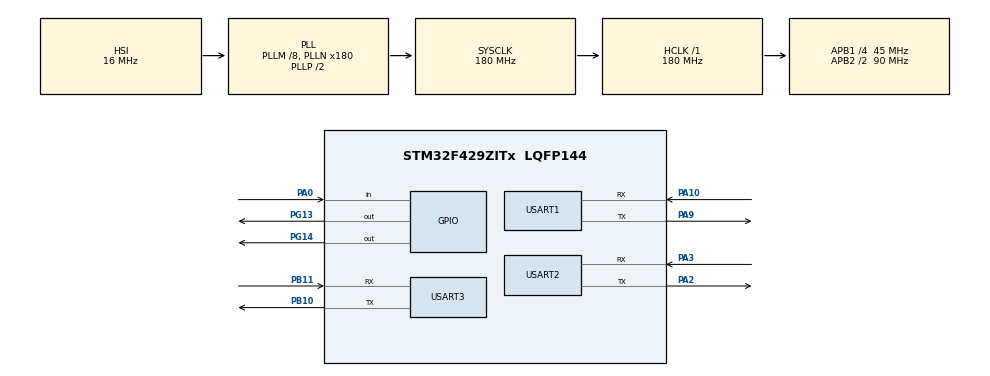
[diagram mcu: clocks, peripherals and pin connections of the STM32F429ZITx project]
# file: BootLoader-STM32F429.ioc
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Mcu.Family=STM32F4
Mcu.Name=STM32F429ZITx
Mcu.Package=LQFP144
NVIC.PriorityGroup=NVIC_PRIORITYGROUP_0
PA0/WKUP.Signal=GPIO_Input
PA10.Mode=Asynchronous
PA10.Signal=USART1_RX
PA13.Mode=Serial_Wire
PA13.Signal=SYS_JTMS-SWDIO
PA14.Mode=Serial_Wire
PA14.Signal=SYS_JTCK-SWCLK
PA2.Mode=Asynchronous
PA2.Signal=USART2_TX
PA3.Mode=Asynchronous
PA3.Signal=USART2_RX
PA9.Mode=Asynchronous
PA9.Signal=USART1_TX
PB10.Mode=Asynchronous
PB10.Signal=USART3_TX
PB11.Mode=Asynchronous
PB11.Signal=USART3_RX
PG13.Signal=GPIO_Output
PG14.Signal=GPIO_Output
PH0/OSC_IN.Mode=HSE-External-Oscillator
PH0/OSC_IN.Signal=RCC_OSC_IN
PH1/OSC_OUT.Mode=HSE-External-Oscillator
PH1/OSC_OUT.Signal=RCC_OSC_OUT
ProjectManager.HeapSize=0x200
ProjectManager.StackSize=0x400
ProjectManager.TargetToolchain=STM32CubeIDE
RCC.48MHZClocksFreq_Value=51428571.428571425
RCC.AHBFreq_Value=180000000
RCC.APB1CLKDivider=RCC_HCLK_DIV4
RCC.APB1Freq_Value=45000000
RCC.APB1TimFreq_Value=90000000
RCC.APB2CLKDivider=RCC_HCLK_DIV2
RCC.APB2Freq_Value=90000000
RCC.APB2TimFreq_Value=180000000
RCC.CortexFreq_Value=180000000
RCC.HCLKFreq_Value=180000000
RCC.HSE_VALUE=8000000
RCC.HSI_VALUE=16000000
RCC.LSE_VALUE=32768
RCC.PLLM=8
RCC.PLLN=180
RCC.PLLQ=7
RCC.SYSCLKFreq_VALUE=180000000
RCC.SYSCLKSource=RCC_SYSCLKSOURCE_PLLCLK
RCC.VCOOutputFreq_Value=360000000
USART1.VirtualMode=VM_ASYNC
USART2.VirtualMode=VM_ASYNC
USART3.VirtualMode=VM_ASYNC
VP_CRC_VS_CRC.Mode=CRC_Activate
board=STM32F429I-DISC1

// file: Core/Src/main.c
/* USER CODE BEGIN Header */
/**
 ******************************************************************************
 * @file           : main.c
 * @brief          : Main program body
 ******************************************************************************
 * @attention
 *
 * <h2><center>&copy; Copyright (c) 2020 STMicroelectronics.
 * All rights reserved.</center></h2>
 *
 * This software component is licensed by ST under BSD 3-Clause license,
 * the "License"; You may not use this file except in compliance with the
 * License. You may obtain a copy of the License at:
 *                        opensource.org/licenses/BSD-3-Clause
 *
 ******************************************************************************
 */
/* USER CODE END Header */
#include "main.h"

/* USER CODE BEGIN PD */
#define C_UART 	&huart3
#define D_UART	&huart1
#define FLASH_SECTOR_SIZE 131072
#define BL_DEBUG_MSG_EN
/* USER CODE END PD */

CRC_HandleTypeDef hcrc;

UART_HandleTypeDef huart1;
UART_HandleTypeDef huart2;
UART_HandleTypeDef huart3;

void SystemClock_Config(void);
static void MX_GPIO_Init(void);
static void MX_CRC_Init(void);
static void MX_USART1_UART_Init(void);
static void MX_USART2_UART_Init(void);
static void MX_USART3_UART_Init(void);
/* USER CODE BEGIN PFP */
static void printmsg(char *format,...);
uint32_t crcCalculation(uint32_t crcArray[], uint8_t lenOfArray);
uint8_t word_to_bytes(uint8_t *dest, uint32_t *src);
uint32_t bytes_to_word(uint32_t *dest, uint8_t *src);
uint8_t execute_mem_write(uint8_t *pBuffer, uint32_t mem_address, uint32_t len);
uint8_t execute_flash_erase(uint8_t sector_number , uint8_t number_of_sector);
uint32_t calculateAuthenticationKEY(uint32_t key);
uint8_t bootloader_verify_crc (uint8_t *pData, uint32_t len, uint32_t crc_host);
uint8_t calculateNumOfSector(uint32_t);
void userApplication(void);
/* USER CODE END PFP */

/* USER CODE BEGIN 0 */
volatile uint32_t dataBuffer = (uint32_t)0x08040000;
volatile uint32_t crcBuffer = (uint32_t)0x08040000;
#define BL_RX_LEN  10000
uint8_t dataArray[BL_RX_LEN];
uint32_t uartDataRx[3] = {0};
uint32_t uartDataTx[3] = {0};
uint32_t payloadLen = 0;
uint32_t key = 0xFFCCDDCC;
/* USER CODE END 0 */

int main(void)
{

	/* MCU Configuration--------------------------------------------------------*/

	/* Reset of all peripherals, Initializes the Flash interface and the Systick. */
	HAL_Init();

	/* Configure the system clock */
	SystemClock_Config();

	/* Initialize all configured peripherals */
	MX_GPIO_Init();
	MX_CRC_Init();
	MX_USART1_UART_Init();
	MX_USART2_UART_Init();
	MX_USART3_UART_Init();
	/* USER CODE BEGIN 2 */
	memset(dataArray,0,10000);
	printmsg("Press User Button within 3 Seconds to boot into BootLoader Mode\r\n");
	//HAL_Delay(3000);
	if(HAL_GPIO_ReadPin(GPIOA, GPIO_PIN_0) == GPIO_PIN_SET)
	{
		printmsg("BootLoader Mode\r\n");
		uint32_t downloaderKey = calculateAuthenticationKEY(key);
		uartDataTx[0] = key;
		printmsg("Waiting for Tester Connection\r\n");
		uint32_t temp = 0;
		HAL_UART_Receive(C_UART, (uint8_t*)&temp, 4, HAL_MAX_DELAY);
		printmsg("Sending Authentication Key to Tester\r\n");
		HAL_Delay(500);
		HAL_UART_Transmit(C_UART, (uint8_t*)&uartDataTx[0], 4, HAL_MAX_DELAY);
		printmsg("Waiting for the Tester Key\r\n");
		HAL_UART_Receive(C_UART, (uint8_t*)&uartDataRx[0], 4, HAL_MAX_DELAY);
		if(uartDataRx[0] == downloaderKey)
		{
			printmsg("Tester is verified successfully\r\n");
			uartDataTx[1] = 0xFFFFFFFF;
			HAL_Delay(1000);
			HAL_UART_Transmit(C_UART, (uint8_t*)&uartDataTx[1], 4, HAL_MAX_DELAY);
			printmsg("Verification msg sent\r\n");
			HAL_UART_Receive(&huart3, (uint8_t*)&uartDataRx[1], 8, HAL_MAX_DELAY);
			uint32_t payloadCRC = uartDataRx[1];
			payloadLen = uartDataRx[2];
			printmsg("CRC value and Payload Length received\r\n");
			//printmsg("Payload Length = %d\r\n", payloadLen);
			//printmsg("Received CRC = %x\r\n", payloadCRC);
			printmsg("Waiting for the payload\r\n");
			HAL_UART_Receive(C_UART, (uint8_t*)dataArray, payloadLen, HAL_MAX_DELAY);
			printmsg("Payload received\r\n");
			HAL_Delay(1000);
			if(!(bootloader_verify_crc((uint8_t*)&dataArray, payloadLen, payloadCRC)))
			{
				printmsg("CRC is matched\r\n");
				HAL_Delay(1000);
				printmsg("Data is being written\r\n");
				HAL_Delay(1000);
				uint8_t statusWrite = 0;
				uint8_t statusErase = 0;
				//uint8_t numOfSector = calculateNumOfSector(payloadLen); // to do
				statusErase = execute_flash_erase(6, 1);
				if(statusErase == HAL_OK)
				{
					printmsg("Erasing Data is Succeeded\r\n");
					HAL_Delay(1000);
					statusWrite = execute_mem_write(dataArray, dataBuffer, payloadLen);
					if(statusWrite == HAL_OK)
					{
						printmsg("data is written successfully\r\n");
						HAL_GPIO_WritePin(GPIOG, GPIO_PIN_13, GPIO_PIN_SET);
						HAL_Delay(1000);
						printmsg("Booting into User Application\r\n");
						HAL_Delay(1000);
						userApplication();
					}
					else
					{
						printmsg("Data writing is failed\r\n");
						HAL_Delay(1000);
						HAL_GPIO_WritePin(GPIOG, GPIO_PIN_14, GPIO_PIN_SET);
						printmsg("Data is Erased, Please Go to Bootloader Mode and Download the firmware\r\n");
						HAL_Delay(1000);
					}
				}
				else
				{
					printmsg("Erasing is failed\r\n");
					HAL_Delay(1000);
					printmsg("Booting into User Application\r\n");
					HAL_Delay(1000);
					userApplication();
				}
			}
			else
			{
				printmsg("CRC is mis-matched\r\n");
				HAL_Delay(1000);
				printmsg("Booting into User Application\r\n");
				HAL_Delay(1000);
				userApplication();
			}
		}
		else
		{
			printmsg("Unknown Tester Found\r\n");
			HAL_Delay(1000);
			printmsg("Booting into User Application\r\n");
			HAL_Delay(1000);
			userApplication();

		}
	}
	else
	{
		printmsg("Booting into User Application\r\n");
		HAL_Delay(1000);
		userApplication();
	}
	/* USER CODE END 2 */
}

void SystemClock_Config(void)
{
	RCC_OscInitTypeDef RCC_OscInitStruct = {0};
	RCC_ClkInitTypeDef RCC_ClkInitStruct = {0};

	/** Configure the main internal regulator output voltage
	 */
	__HAL_RCC_PWR_CLK_ENABLE();
	__HAL_PWR_VOLTAGESCALING_CONFIG(PWR_REGULATOR_VOLTAGE_SCALE1);
	/** Initializes the RCC Oscillators according to the specified parameters
	 * in the RCC_OscInitTypeDef structure.
	 */
	RCC_OscInitStruct.OscillatorType = RCC_OSCILLATORTYPE_HSI;
	RCC_OscInitStruct.HSIState = RCC_HSI_ON;
	RCC_OscInitStruct.HSICalibrationValue = RCC_HSICALIBRATION_DEFAULT;
	RCC_OscInitStruct.PLL.PLLState = RCC_PLL_ON;
	RCC_OscInitStruct.PLL.PLLSource = RCC_PLLSOURCE_HSI;
	RCC_OscInitStruct.PLL.PLLM = 8;
	RCC_OscInitStruct.PLL.PLLN = 180;
	RCC_OscInitStruct.PLL.PLLP = RCC_PLLP_DIV2;
	RCC_OscInitStruct.PLL.PLLQ = 7;
	if (HAL_RCC_OscConfig(&RCC_OscInitStruct) != HAL_OK)
	{
		Error_Handler();
	}
	/** Activate the Over-Drive mode
	 */
	if (HAL_PWREx_EnableOverDrive() != HAL_OK)
	{
		Error_Handler();
	}
	/** Initializes the CPU, AHB and APB buses clocks
	 */
	RCC_ClkInitStruct.ClockType = RCC_CLOCKTYPE_HCLK|RCC_CLOCKTYPE_SYSCLK
			|RCC_CLOCKTYPE_PCLK1|RCC_CLOCKTYPE_PCLK2;
	RCC_ClkInitStruct.SYSCLKSource = RCC_SYSCLKSOURCE_PLLCLK;
	RCC_ClkInitStruct.AHBCLKDivider = RCC_SYSCLK_DIV1;
	RCC_ClkInitStruct.APB1CLKDivider = RCC_HCLK_DIV4;
	RCC_ClkInitStruct.APB2CLKDivider = RCC_HCLK_DIV2;

	if (HAL_RCC_ClockConfig(&RCC_ClkInitStruct, FLASH_LATENCY_5) != HAL_OK)
	{
		Error_Handler();
	}
}

static void MX_CRC_Init(void)
{

	hcrc.Instance = CRC;
	if (HAL_CRC_Init(&hcrc) != HAL_OK)
	{
		Error_Handler();
	}

}

static void MX_USART1_UART_Init(void)
{

	huart1.Instance = USART1;
	huart1.Init.BaudRate = 115200;
	huart1.Init.WordLength = UART_WORDLENGTH_8B;
	huart1.Init.StopBits = UART_STOPBITS_1;
	huart1.Init.Parity = UART_PARITY_NONE;
	huart1.Init.Mode = UART_MODE_TX_RX;
	huart1.Init.HwFlowCtl = UART_HWCONTROL_NONE;
	huart1.Init.OverSampling = UART_OVERSAMPLING_16;
	if (HAL_UART_Init(&huart1) != HAL_OK)
	{
		Error_Handler();
	}

}

static void MX_USART2_UART_Init(void)
{

	huart2.Instance = USART2;
	huart2.Init.BaudRate = 115200;
	huart2.Init.WordLength = UART_WORDLENGTH_8B;
	huart2.Init.StopBits = UART_STOPBITS_1;
	huart2.Init.Parity = UART_PARITY_NONE;
	huart2.Init.Mode = UART_MODE_TX_RX;
	huart2.Init.HwFlowCtl = UART_HWCONTROL_NONE;
	huart2.Init.OverSampling = UART_OVERSAMPLING_16;
	if (HAL_UART_Init(&huart2) != HAL_OK)
	{
		Error_Handler();
	}

}

static void MX_USART3_UART_Init(void)
{

	huart3.Instance = USART3;
	huart3.Init.BaudRate = 115200;
	huart3.Init.WordLength = UART_WORDLENGTH_8B;
	huart3.Init.StopBits = UART_STOPBITS_1;
	huart3.Init.Parity = UART_PARITY_NONE;
	huart3.Init.Mode = UART_MODE_TX_RX;
	huart3.Init.HwFlowCtl = UART_HWCONTROL_NONE;
	huart3.Init.OverSampling = UART_OVERSAMPLING_16;
	if (HAL_UART_Init(&huart3) != HAL_OK)
	{
		Error_Handler();
	}

}

static void MX_GPIO_Init(void)
{
	GPIO_InitTypeDef GPIO_InitStruct = {0};

	/* GPIO Ports Clock Enable */
	__HAL_RCC_GPIOH_CLK_ENABLE();
	__HAL_RCC_GPIOA_CLK_ENABLE();
	__HAL_RCC_GPIOB_CLK_ENABLE();
	__HAL_RCC_GPIOG_CLK_ENABLE();

	/*Configure GPIO pin Output Level */
	HAL_GPIO_WritePin(GPIOG, GPIO_PIN_13|GPIO_PIN_14, GPIO_PIN_RESET);

	/*Configure GPIO pin : PA0 */
	GPIO_InitStruct.Pin = GPIO_PIN_0;
	GPIO_InitStruct.Mode = GPIO_MODE_INPUT;
	GPIO_InitStruct.Pull = GPIO_NOPULL;
	HAL_GPIO_Init(GPIOA, &GPIO_InitStruct);

	/*Configure GPIO pins : PG13 PG14 */
	GPIO_InitStruct.Pin = GPIO_PIN_13|GPIO_PIN_14;
	GPIO_InitStruct.Mode = GPIO_MODE_OUTPUT_PP;
	GPIO_InitStruct.Pull = GPIO_NOPULL;
	GPIO_InitStruct.Speed = GPIO_SPEED_FREQ_LOW;
	HAL_GPIO_Init(GPIOG, &GPIO_InitStruct);

}

/* USER CODE BEGIN 4 */
void printmsg(char *format,...)
{
#ifdef BL_DEBUG_MSG_EN
	char str[80];
	/*Extract the the argument list using VA apis */
	va_list args;
	va_start(args, format);
	vsprintf(str, format,args);
	HAL_UART_Transmit(D_UART,(uint8_t *)str, strlen(str),HAL_MAX_DELAY);
	va_end(args);
#endif
}
/* CRC Calculation using Software */
uint32_t crcCalculation(uint32_t crcArray[], uint8_t lenOfArray)
{
	uint32_t crc = 0xFF;
	uint8_t bindex = 0;
	uint8_t lenOfData = 0;
	for(;lenOfData < lenOfArray; lenOfData++)
	{
		crc = crc ^ crcArray[lenOfData];
		for(;bindex < (sizeof(crcArray[lenOfData]) * 8); bindex++)
		{
			if(crc & 0x80000000)
			{
				crc = (crc << 1) ^ 0x04C11DB7;
			}
			else
			{
				crc = crc << 1;
			}
		}
		bindex = 0;
	}
	return crc;
}
uint8_t execute_mem_write(uint8_t *pBuffer, uint32_t mem_address, uint32_t len)
{
	uint8_t status = HAL_OK;

	//We have to unlock flash module to get control of registers
	HAL_FLASH_Unlock();

	for(uint32_t i = 0 ; i <len ; i++)
	{
		//Here we program the flash byte by byte
		status = HAL_FLASH_Program(FLASH_TYPEPROGRAM_BYTE,mem_address+i,pBuffer[i] );
	}
	HAL_FLASH_Lock();

	return status;
}

uint8_t execute_flash_erase(uint8_t sector_number , uint8_t number_of_sector)
{
	//we have totally 12 sectors in STM32F407VG mcu .. sector[0 to 11]
	//number_of_sector has to be in the range of 0 to 11
	// if sector_number = 0xff , that means mass erase !
	//Code needs to modified if your MCU supports more flash sectors
	FLASH_EraseInitTypeDef flashErase_handle;
	uint32_t sectorError;
	HAL_StatusTypeDef status;

	if( number_of_sector > 12 )
		return INVALID_SECTOR;

	if( (sector_number == 0xff ) || (sector_number <= 11) )
	{
		if(sector_number == (uint8_t) 0xff)
		{
			flashErase_handle.TypeErase = FLASH_TYPEERASE_MASSERASE;
		}else
		{
			/*Here we are just calculating how many sectors needs to erased */
			uint8_t remanining_sector = 12 - sector_number;
			if( number_of_sector > remanining_sector)
			{
				number_of_sector = remanining_sector;
			}
			flashErase_handle.TypeErase = FLASH_TYPEERASE_SECTORS;
			flashErase_handle.Sector = sector_number; // this is the initial sector
			flashErase_handle.NbSectors = number_of_sector;
		}
		flashErase_handle.Banks = FLASH_BANK_1;

		/*Get access to touch the flash registers */
		HAL_FLASH_Unlock();
		flashErase_handle.VoltageRange = FLASH_VOLTAGE_RANGE_3;  // our mcu will work on this voltage range
		status = (uint8_t) HAL_FLASHEx_Erase(&flashErase_handle, &sectorError);
		HAL_FLASH_Lock();

		return status;
	}

	return INVALID_SECTOR;
}
uint32_t calculateAuthenticationKEY(uint32_t key)
{
	uint32_t returnValue = key ^ 0xAABBCCDD;
	return returnValue;

}
uint8_t bootloader_verify_crc (uint8_t *pData, uint32_t len, uint32_t crc_host)
{
	uint32_t uwCRCValue = 0xFF;

	for (uint32_t i=0 ; i < len ; i++)
	{
		uint32_t i_data = pData[i];
		uwCRCValue = HAL_CRC_Accumulate(&hcrc, &i_data, 1);
	}

	/* Reset CRC Calculation Unit */
	__HAL_CRC_DR_RESET(&hcrc);

	if( uwCRCValue == crc_host)
	{
		return VERIFY_CRC_SUCCESS;
	}

	return VERIFY_CRC_FAIL;
}
void userApplication(void)
{
	void (*app_reset_handler)(void);

	//printmsg("BL_DEBUG_MSG:bootloader_jump_to_user_app\n");

	// 1. configure the MSP by reading the value from the base address of the sector 2
	uint32_t msp_value = *(volatile uint32_t *)FLASH_SECTOR6_BASE_ADDRESS;
	//printmsg("BL_DEBUG_MSG:MSP value : %#x\n",msp_value);

	//This function comes from CMSIS.
	__set_MSP(msp_value);

	//SCB->VTOR = FLASH_SECTOR1_BASE_ADDRESS;

	/* 2. Now fetch the reset handler address of the user application
	 * from the location FLASH_SECTOR6_BASE_ADDRESS+4
	 */
	uint32_t resethandler_address = *(volatile uint32_t *) (FLASH_SECTOR6_BASE_ADDRESS + 4);

	app_reset_handler = (void*) resethandler_address;

	//printmsg("BL_DEBUG_MSG: app reset handler addr : %#x\n",app_reset_handler);

	//3. jump to reset handler of the user application
	app_reset_handler();

}
uint8_t calculateNumOfSector(uint32_t len)
{
	/*
	 * Memory Arrangement of STM32F407
	 * Sector 6 = 128Kbytes
	 * Sector 7 = 128Kbytes
	 * Sector 8 = 128Kbytes
	 * Sector 9 = 128Kbytes
	 * Sector 10 = 128Kbytes
	 * Sector 11 = 128Kbytes
	 * Total Available Size = 131072 * 6 = 786432 bytes
	 * Total Sector = 6
	 */
	uint8_t numOfSector = 0;
	uint32_t totalSize = 786432;
	uint8_t totalSector = 6;
	if(len < FLASH_SECTOR_SIZE)
	{
		numOfSector = 1;
	}
	else
	{
		numOfSector = totalSector - (totalSize / len);
	}
	return numOfSector;
}
/* USER CODE END 4 */

void Error_Handler(void)
{
}

/************************ (C) COPYRIGHT STMicroelectronics *****END OF FILE****/
